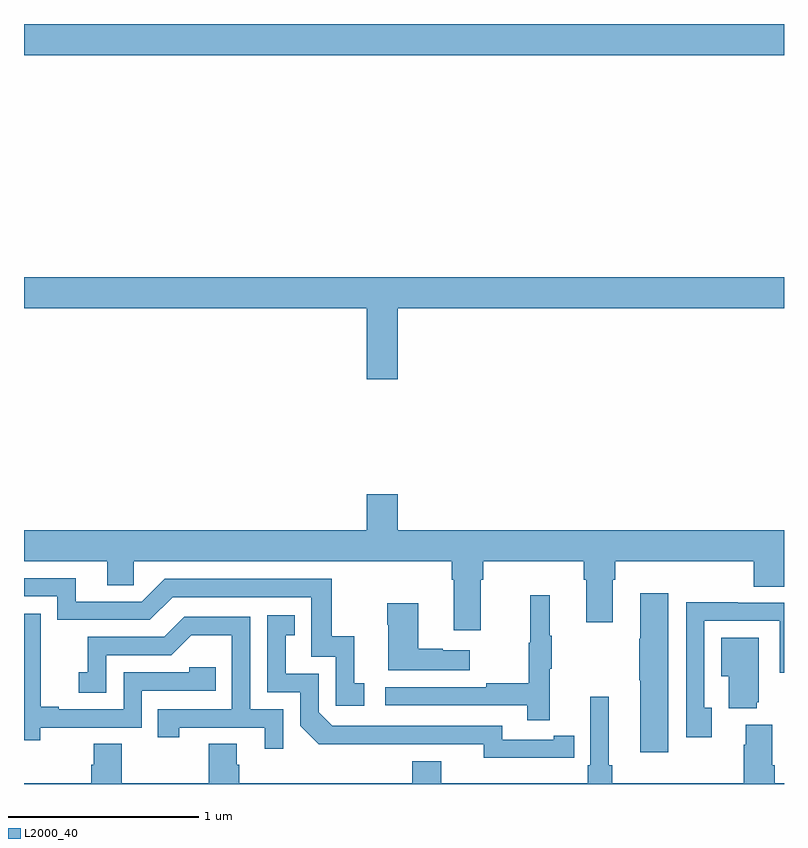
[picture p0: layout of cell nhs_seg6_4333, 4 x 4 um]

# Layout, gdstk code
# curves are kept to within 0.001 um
import gdstk
lib = gdstk.Library(unit=1e-6, precision=1e-09)
def R(c, l, rs):  # rectangles x0, y0, x1, y1
    for r in rs: c.add(gdstk.rectangle(r[:2], r[2:], *l))
def P(c, l, *ps):  # polygons
    for p in ps: c.add(gdstk.Polygon(p, *l))
L2000_40 = (2000, 40)

nhs_seg6_4333 = lib.new_cell('nhs_seg6_4333')
R(nhs_seg6_4333, L2000_40, [(367,947.336,371,947.5)])
P(nhs_seg6_4333, L2000_40, [(367,946.004),(368.804,946.004),(368.804,945.63),(368.968,945.63),(368.968,946.004),(371,946.004),(371,946.168),(367,946.168)],
  [(368.968,945.025),(368.804,945.025),(368.804,944.836),(367,944.836),(367,944.672),(367.439,944.672),(367.439,944.545),(367.578,944.545),(367.578,944.672),(369.251,944.672),(369.251,944.576),(369.263,944.576),(369.263,944.31),(369.403,944.31),(369.403,944.576),(369.416,944.576),(369.416,944.672),(369.947,944.672),(369.947,944.576),(369.959,944.576),(369.959,944.352),(370.099,944.352),(370.099,944.576),(370.112,944.576),(370.112,944.672),(370.841,944.672),(370.841,944.539),(371,944.539),(371,944.836),(368.968,944.836)],
  [(368.791,944.031),(368.738,944.031),(368.738,944.278),(368.62,944.278),(368.62,944.58),(367.74,944.58),(367.62,944.46),(367.273,944.46),(367.273,944.583),(367,944.583),(367,944.487),(367.176,944.487),(367.176,944.364),(367.662,944.364),(367.782,944.484),(368.511,944.484),(368.511,944.169),(368.64,944.169),(368.64,943.911),(368.791,943.911)],
  [(370.39,944.503),(370.244,944.503),(370.244,944.264),(370.237,944.264),(370.237,944.047),(370.244,944.047),(370.244,943.668),(370.39,943.668)],
  [(369.767,944.107),(369.778,944.107),(369.778,944.281),(369.767,944.281),(369.767,944.494),(369.664,944.494),(369.664,944.244),(369.657,944.244),(369.657,944.03),(369.433,944.03),(369.433,944.01),(368.901,944.01),(368.901,943.914),(369.649,943.914),(369.649,943.836),(369.767,943.836)],
  [(370.621,943.902),(370.581,943.902),(370.581,944.358),(370.977,944.358),(370.977,944.085),(371,944.085),(371,944.454),(370.757,944.454),(370.757,944.456),(370.485,944.456),(370.485,943.746),(370.621,943.746)],
  [(369.346,944.203),(369.203,944.203),(369.203,944.213),(369.076,944.213),(369.076,944.452),(368.911,944.452),(368.911,944.339),(368.918,944.339),(368.918,944.099),(369.346,944.099)],
  [(367.086,943.797),(367.62,943.797),(367.62,943.992),(368.009,943.992),(368.009,944.115),(367.869,944.115),(367.869,944.088),(367.524,944.088),(367.524,943.893),(367.183,943.893),(367.183,943.906),(367.088,943.906),(367.088,944.189),(367.089,944.189),(367.089,944.395),(367,944.395),(367,943.729),(367.086,943.729)],
  [(369.788,943.638),(369.896,943.638),(369.896,943.754),(369.788,943.754),(369.788,943.734),(369.516,943.734),(369.516,943.806),(368.622,943.806),(368.55,943.878),(368.55,944.079),(368.377,944.079),(368.377,944.283),(368.426,944.283),(368.426,944.389),(368.28,944.389),(368.28,943.983),(368.454,943.983),(368.454,943.806),(368.552,943.709),(369.42,943.71),(369.42,943.637)],
  [(368.364,943.893),(368.19,943.893),(368.19,944.379),(367.844,944.379),(367.739,944.274),(367.336,944.274),(367.336,944.089),(367.287,944.089),(367.287,943.98),(367.434,943.98),(367.434,944.178),(367.776,944.178),(367.88,944.282),(368.094,944.282),(368.094,943.893),(367.705,943.893),(367.705,943.746),(367.816,943.746),(367.816,943.797),(368.267,943.797),(368.267,943.686),(368.364,943.686)],
  [(370.856,943.929),(370.867,943.929),(370.867,944.269),(370.67,944.269),(370.67,944.066),(370.709,944.066),(370.709,943.898),(370.856,943.898)],
  [(371,943.504),(370.952,943.504),(370.952,943.6),(370.939,943.6),(370.939,943.813),(370.799,943.813),(370.799,943.706),(370.787,943.706),(370.787,943.504),(370.097,943.504),(370.097,943.6),(370.078,943.6),(370.078,943.96),(369.981,943.96),(369.981,943.6),(369.968,943.6),(369.968,943.504),(369.196,943.504),(369.196,943.621),(369.044,943.621),(369.044,943.504),(368.132,943.504),(368.132,943.602),(368.119,943.602),(368.119,943.712),(367.972,943.712),(367.972,943.504),(367.515,943.504),(367.515,943.712),(367.367,943.712),(367.367,943.602),(367.355,943.602),(367.355,943.504),(367,943.504),(367,943.5),(371,943.5)])

lib.write_gds('nhs_seg6_4333.gds')
